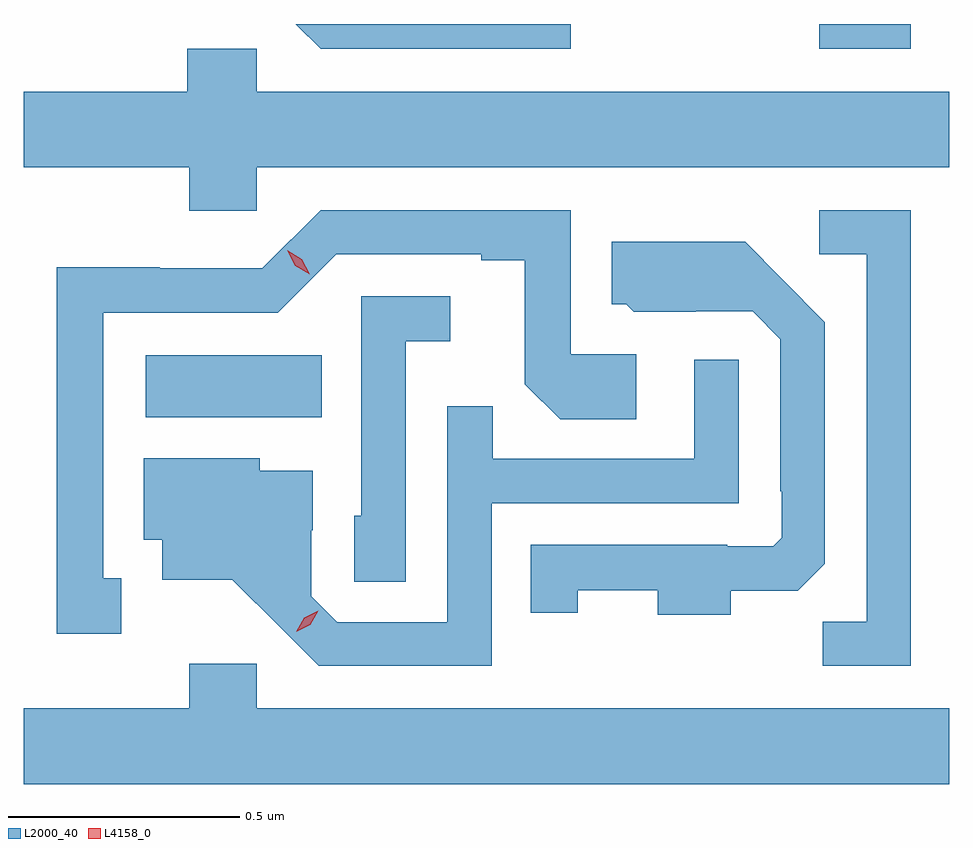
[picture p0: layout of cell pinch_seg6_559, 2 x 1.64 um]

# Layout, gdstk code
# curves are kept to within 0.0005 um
import gdstk
lib = gdstk.Library(unit=1e-6, precision=1e-09)
def R(c, l, rs):  # rectangles x0, y0, x1, y1
    for r in rs: c.add(gdstk.rectangle(r[:2], r[2:], *l))
def P(c, l, *ps):  # polygons
    for p in ps: c.add(gdstk.Polygon(p, *l))
L2000_40 = (2000, 40)
L4158_0 = (4158, 0)

pinch_seg6_559 = lib.new_cell('pinch_seg6_559')
R(pinch_seg6_559, L2000_40, [(797.826,917.492,798.206,917.626), (799.281,918.288,799.479,918.342)])
P(pinch_seg6_559, L2000_40, [(798.744,918.342),(798.15,918.342),(798.204,918.288),(798.744,918.288)],
  [(798.066,918.032),(799.562,918.032),(799.562,918.196),(798.066,918.196),(798.066,918.289),(797.915,918.289),(797.915,918.196),(797.562,918.196),(797.562,918.032),(797.92,918.032),(797.92,917.939),(798.066,917.939)],
  [(797.773,917.145),(797.734,917.145),(797.734,917.718),(798.111,917.718),(798.237,917.844),(798.551,917.844),(798.551,917.832),(798.645,917.832),(798.645,917.564),(798.721,917.488),(798.886,917.488),(798.886,917.628),(798.744,917.628),(798.744,917.94),(798.204,917.94),(798.078,917.814),(797.856,917.814),(797.856,917.816),(797.633,917.816),(797.633,917.025),(797.773,917.025)],
  [(799.479,917.94),(799.281,917.94),(799.281,917.844),(799.383,917.844),(799.383,917.051),(799.288,917.051),(799.288,916.956),(799.479,916.956)],
  [(799.09,917.117),(799.234,917.117),(799.293,917.176),(799.293,917.698),(799.121,917.872),(798.833,917.872),(798.833,917.736),(798.864,917.736),(798.88,917.72),(799.014,917.72),(799.014,917.721),(799.137,917.721),(799.197,917.661),(799.197,917.332),(799.2,917.332),(799.2,917.232),(799.182,917.214),(799.082,917.214),(799.082,917.217),(798.658,917.217),(798.658,917.07),(798.759,917.07),(798.759,917.119),(798.932,917.119),(798.932,917.066),(799.09,917.066)],
  [(798.387,917.657),(798.484,917.657),(798.484,917.754),(798.291,917.754),(798.291,917.28),(798.276,917.28),(798.276,917.137),(798.387,917.137)],
  [(798.573,917.307),(799.107,917.307),(799.107,917.617),(799.011,917.617),(799.011,917.403),(798.575,917.403),(798.575,917.516),(798.477,917.516),(798.477,917.049),(798.24,917.049),(798.183,917.106),(798.183,917.248),(798.187,917.248),(798.187,917.377),(798.072,917.377),(798.072,917.404),(797.822,917.404),(797.822,917.228),(797.861,917.228),(797.861,917.141),(798.013,917.141),(798.2,916.956),(798.573,916.956)],
  [(799.562,916.864),(798.066,916.864),(798.066,916.96),(797.92,916.96),(797.92,916.864),(797.562,916.864),(797.562,916.7),(799.562,916.7)])
P(pinch_seg6_559, L4158_0, [(798.151,917.029),(798.151,917.029),(798.168,917.059),(798.198,917.074),(798.198,917.074),(798.198,917.074),(798.181,917.044),(798.151,917.029)],
  [(798.18,917.801),(798.149,917.82),(798.132,917.853),(798.132,917.853),(798.132,917.853),(798.163,917.834),(798.18,917.801),(798.18,917.801)])

lib.write_gds('pinch_seg6_559.gds')
